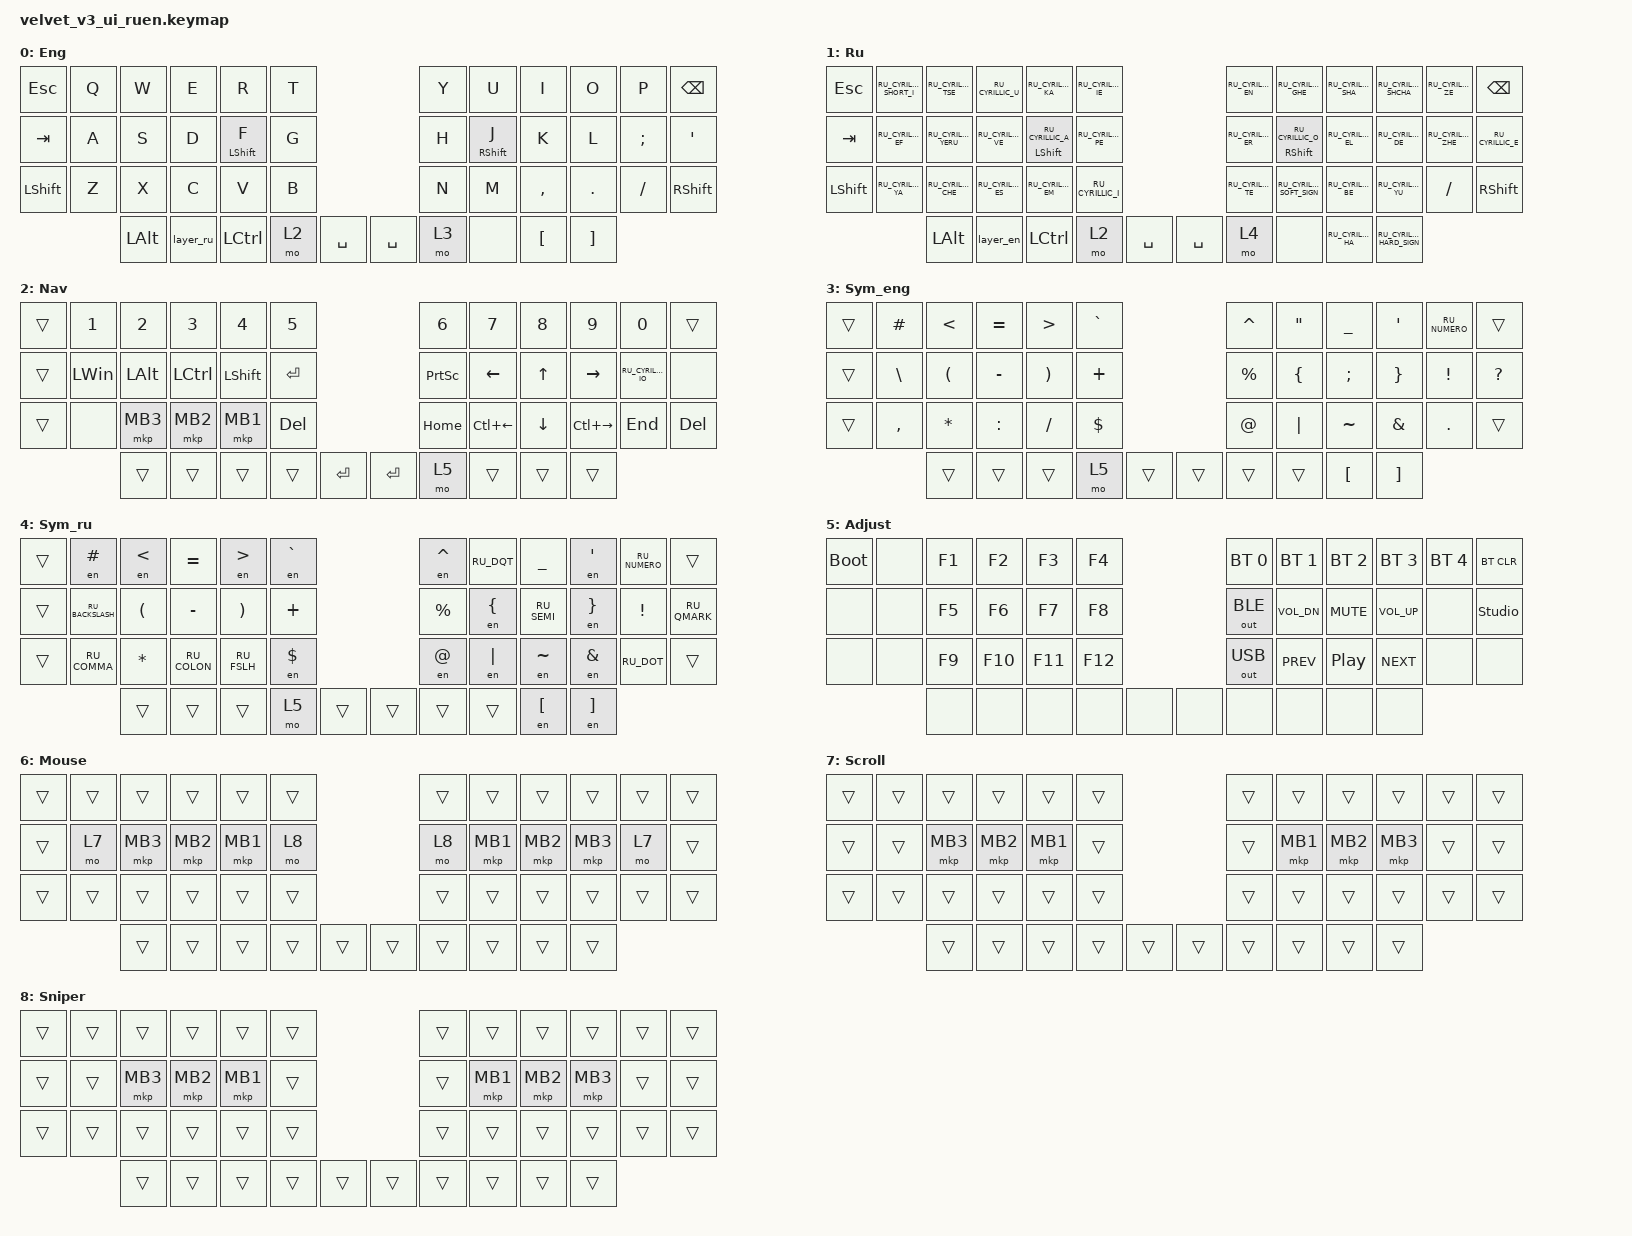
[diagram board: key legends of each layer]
#include "keys_ru.h"
#include <dt-bindings/zmk/input_transform.h>
#include <input/processors.dtsi>
#include <zephyr/dt-bindings/input/input-event-codes.h>
#include <behaviors.dtsi>
#include <dt-bindings/zmk/bt.h>
#include <dt-bindings/zmk/keys.h>
#include <dt-bindings/zmk/outputs.h>
#include <dt-bindings/zmk/pointing.h>

/ {
    behaviors {
        cap_sen: cap_sen {
            compatible = "zmk,behavior-hold-tap";
            label = "CAP_SEN";
            bindings = <&mo>, <&mkp>;

            #binding-cells = <2>;
            tapping-term-ms = <150>;
            hold-while-undecided;
        };

        mouse_layer: mouse_layer {
            compatible = "zmk,behavior-sticky-key";
            label = "MOUSE_LAYER";
            bindings = <&mo>;
            #binding-cells = <1>;
            release-after-ms = <200>;
        };

        zip_auto_mouse: zip_auto_mouse {
            compatible = "zmk,input-processor-temp-layer";
            #input-processor-cells = <2>;
            require-prior-idle-ms = <800>;
            excluded-positions = <>;
        };
    };

    combos {
        compatible = "zmk,combos";

        cmben {
            bindings = <&layer_en>;
            key-positions = <3 4>;
            layers = <1>;
        };

        cmbru {
            bindings = <&layer_ru>;
            key-positions = <3 4>;
            layers = <0>;
        };
    };

    macros {
        to_ru: to_ru {
            compatible = "zmk,behavior-macro";
            #binding-cells = <0>;
            bindings = <&kp LS(LA(N1))>;
            label = "TO_RU";
            wait-ms = <0>;
            tap-ms = <30>;
        };

        to_en: to_en {
            compatible = "zmk,behavior-macro";
            #binding-cells = <0>;
            bindings = <&kp LS(LA(NUMBER_2))>;
            label = "TO_EN";
            wait-ms = <0>;
            tap-ms = <30>;
        };

        layer_en: layer_en {
            compatible = "zmk,behavior-macro";
            #binding-cells = <0>;
            bindings = <&to 0 &to_en>;
            label = "LAYER_EN";
            wait-ms = <0>;
            tap-ms = <30>;
        };

        layer_ru: layer_ru {
            compatible = "zmk,behavior-macro";
            #binding-cells = <0>;
            bindings = <&to 1 &to_ru>;
            label = "LAYER_RU";
            tap-ms = <30>;
            wait-ms = <0>;
        };

        en: en {
            compatible = "zmk,behavior-macro-one-param";
            #binding-cells = <1>;
            bindings =
                <&to_en>,
                <&macro_press>,
                <&macro_param_1to1 &kp MACRO_PLACEHOLDER>,
                <&macro_pause_for_release>,
                <&macro_release>,
                <&macro_param_1to1 &kp MACRO_PLACEHOLDER>,
                <&macro_tap>,
                <&to_ru>;

            label = "EN";
            wait-ms = <0>;
            tap-ms = <30>;
        };
    };

    keymap {
        compatible = "zmk,keymap";

        en {
            bindings = <
&kp ESC    &kp Q  &kp W         &kp E      &kp R             &kp T                          &kp Y  &kp U              &kp I      &kp O     &kp P      &kp BSPC
&kp TAB    &kp A  &kp S         &kp D      &mt LEFT_SHIFT F  &kp G                          &kp H  &mt RIGHT_SHIFT J  &kp K      &kp L     &kp SEMI   &kp APOS
&kp LSHFT  &kp Z  &kp X         &kp C      &kp V             &kp B                          &kp N  &kp M              &kp COMMA  &kp DOT   &kp SLASH  &kp RSHFT
                  &kp LEFT_ALT  &layer_ru  &kp LCTRL         &mo 2  &kp SPACE    &kp SPACE  &mo 3  &none              &kp LBKT   &kp RBKT
            >;

            display-name = "Eng";
        };

        ru {
            display-name = "Ru";
            bindings = <
&kp ESC    &kp RU_CYRILLIC_SHORT_I  &kp RU_CYRILLIC_TSE   &kp RU_CYRILLIC_U   &kp RU_CYRILLIC_KA            &kp RU_CYRILLIC_IE                          &kp RU_CYRILLIC_EN  &kp RU_CYRILLIC_GHE            &kp RU_CYRILLIC_SHA  &kp RU_CYRILLIC_SHCHA      &kp RU_CYRILLIC_ZE   &kp BSPC
&kp TAB    &kp RU_CYRILLIC_EF       &kp RU_CYRILLIC_YERU  &kp RU_CYRILLIC_VE  &mt LEFT_SHIFT RU_CYRILLIC_A  &kp RU_CYRILLIC_PE                          &kp RU_CYRILLIC_ER  &mt RIGHT_SHIFT RU_CYRILLIC_O  &kp RU_CYRILLIC_EL   &kp RU_CYRILLIC_DE         &kp RU_CYRILLIC_ZHE  &kp RU_CYRILLIC_E
&kp LSHFT  &kp RU_CYRILLIC_YA       &kp RU_CYRILLIC_CHE   &kp RU_CYRILLIC_ES  &kp RU_CYRILLIC_EM            &kp RU_CYRILLIC_I                           &kp RU_CYRILLIC_TE  &kp RU_CYRILLIC_SOFT_SIGN      &kp RU_CYRILLIC_BE   &kp RU_CYRILLIC_YU         &kp SLASH            &kp RSHFT
                                    &kp LALT              &layer_en           &kp LCTRL                     &mo 2               &kp SPACE    &kp SPACE  &mo 4               &none                          &kp RU_CYRILLIC_HA   &kp RU_CYRILLIC_HARD_SIGN
            >;
        };

        nav {
            bindings = <
&trans  &kp N1        &kp NUMBER_2  &kp NUMBER_3      &kp NUMBER_4    &kp NUMBER_5                          &kp N6           &kp N7        &kp NUMBER_8  &kp NUMBER_9         &kp NUMBER_0        &trans
&trans  &kp LEFT_WIN  &kp LEFT_ALT  &kp LEFT_CONTROL  &kp LEFT_SHIFT  &kp RET                               &kp PRINTSCREEN  &kp LEFT      &kp UP        &kp RIGHT            &kp RU_CYRILLIC_IO  &none
&trans  &none         &mkp MB3      &mkp MB2          &mkp MB1        &kp DEL                               &kp HOME         &kp LC(LEFT)  &kp DOWN      &kp LC(RIGHT_ARROW)  &kp END             &kp DELETE
                      &trans        &trans            &trans          &trans        &kp ENTER    &kp ENTER  &mo 5            &trans        &trans        &trans
            >;

            display-name = "Nav";
        };

        sym_en {
            bindings = <
&trans  &kp HASH   &kp LT    &kp EQUAL  &kp GT    &kp GRAVE                    &kp CARET  &kp DQT   &kp UNDER  &kp SQT   &kp RU_NUMERO  &trans
&trans  &kp BSLH   &kp LPAR  &kp MINUS  &kp RPAR  &kp PLUS                     &kp PRCNT  &kp LBRC  &kp SEMI   &kp RBRC  &kp EXCL       &kp QUESTION
&trans  &kp COMMA  &kp STAR  &kp COLON  &kp FSLH  &kp DLLR                     &kp AT     &kp PIPE  &kp TILDE  &kp AMPS  &kp DOT        &trans
                   &trans    &trans     &trans    &mo 5      &trans    &trans  &trans     &trans    &kp LBKT   &kp RBKT
            >;

            display-name = "Sym_eng";
        };

        sym_ru {
            display-name = "Sym_ru";
            bindings = <
&trans  &en HASH          &en LT    &kp EQUAL     &en GT       &en GRAVE                    &en CARET  &kp RU_DQT  &kp UNDER    &en SQT   &kp RU_NUMERO  &trans
&trans  &kp RU_BACKSLASH  &kp LPAR  &kp MINUS     &kp RPAR     &kp PLUS                     &kp PRCNT  &en LBRC    &kp RU_SEMI  &en RBRC  &kp EXCL       &kp RU_QMARK
&trans  &kp RU_COMMA      &kp STAR  &kp RU_COLON  &kp RU_FSLH  &en DLLR                     &en AT     &en PIPE    &en TILDE    &en AMPS  &kp RU_DOT     &trans
                          &trans    &trans        &trans       &mo 5      &trans    &trans  &trans     &trans      &en LBKT     &en RBKT
            >;
        };

        adj {
            bindings = <
&bootloader  &none  &kp F1  &kp F2   &kp F3   &kp F4                   &bt BT_SEL 0  &bt BT_SEL 1  &bt BT_SEL 2      &bt BT_SEL 3  &bt BT_SEL 4  &bt BT_CLR
&none        &none  &kp F5  &kp F6   &kp F7   &kp F8                   &out OUT_BLE  &kp C_VOL_DN  &kp C_MUTE        &kp C_VOL_UP  &none         &studio_unlock
&none        &none  &kp F9  &kp F10  &kp F11  &kp F12                  &out OUT_USB  &kp C_PREV    &kp C_PLAY_PAUSE  &kp C_NEXT    &none         &none
                    &none   &none    &none    &none    &none    &none  &none         &none         &none             &none
            >;

            display-name = "Adjust";
        };

        mouse {
            bindings = <
&trans  &trans  &trans    &trans    &trans    &trans                    &trans  &trans    &trans    &trans    &trans  &trans
&trans  &mo 7   &mkp MB3  &mkp MB2  &mkp MB1  &mo 8                     &mo 8   &mkp MB1  &mkp MB2  &mkp MB3  &mo 7   &trans
&trans  &trans  &trans    &trans    &trans    &trans                    &trans  &trans    &trans    &trans    &trans  &trans
                &trans    &trans    &trans    &trans  &trans    &trans  &trans  &trans    &trans    &trans
            >;

            display-name = "Mouse";
        };

        scroll {
            bindings = <
&trans  &trans  &trans    &trans    &trans    &trans                    &trans  &trans    &trans    &trans    &trans  &trans
&trans  &trans  &mkp MB3  &mkp MB2  &mkp MB1  &trans                    &trans  &mkp MB1  &mkp MB2  &mkp MB3  &trans  &trans
&trans  &trans  &trans    &trans    &trans    &trans                    &trans  &trans    &trans    &trans    &trans  &trans
                &trans    &trans    &trans    &trans  &trans    &trans  &trans  &trans    &trans    &trans
            >;

            display-name = "Scroll";
        };

        sniper {
            bindings = <
&trans  &trans  &trans    &trans    &trans    &trans                    &trans  &trans    &trans    &trans    &trans  &trans
&trans  &trans  &mkp MB3  &mkp MB2  &mkp MB1  &trans                    &trans  &mkp MB1  &mkp MB2  &mkp MB3  &trans  &trans
&trans  &trans  &trans    &trans    &trans    &trans                    &trans  &trans    &trans    &trans    &trans  &trans
                &trans    &trans    &trans    &trans  &trans    &trans  &trans  &trans    &trans    &trans
            >;

            display-name = "Sniper";
        };
    };
};

&trackball { cpi = <1000>; };

&trackball_listener {
    input-processors = <&zip_auto_mouse 6 500>, <&zip_xy_scaler 9 20>;

    scroller {
        layers = <7>;
        input-processors =
            <&zip_xy_transform INPUT_TRANSFORM_Y_INVERT>,
            <&zip_xy_scaler 1 32>,
            <&zip_xy_to_scroll_mapper>;
    };

    sniper {
        layers = <8>;
        input-processors = <&zip_xy_scaler 1 4>;
    };
};
